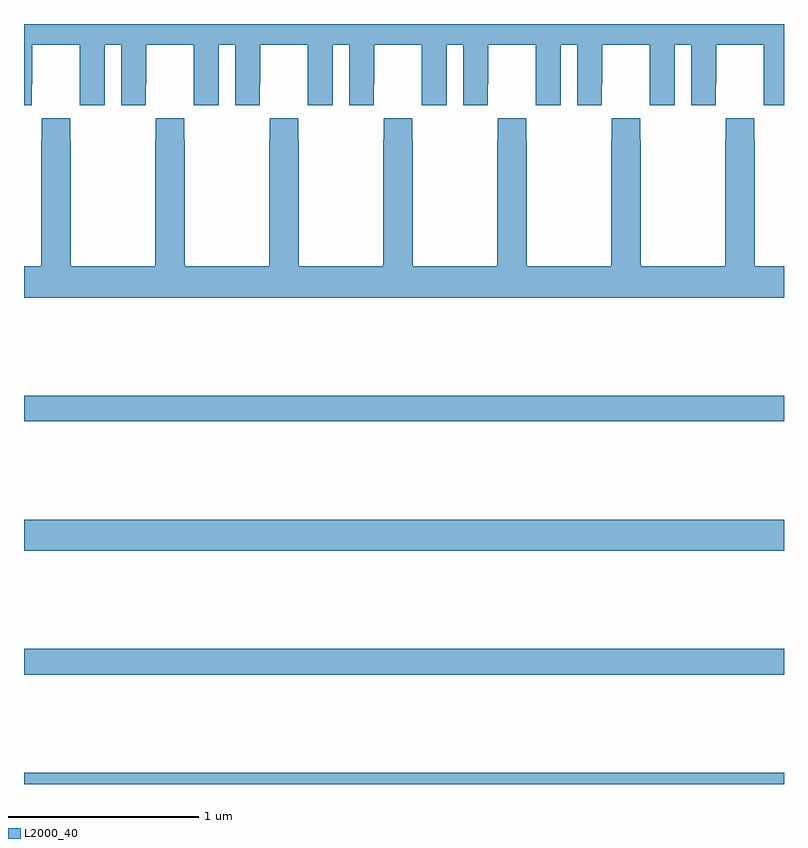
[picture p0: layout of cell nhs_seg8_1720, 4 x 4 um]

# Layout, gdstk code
import gdstk
lib = gdstk.Library(unit=1e-6, precision=1e-09)
def R(c, l, rs):  # rectangles x0, y0, x1, y1
    for r in rs: c.add(gdstk.rectangle(r[:2], r[2:], *l))
def P(c, l, *ps):  # polygons
    for p in ps: c.add(gdstk.Polygon(p, *l))
L2000_40 = (2000, 40)

nhs_seg8_1720 = lib.new_cell('nhs_seg8_1720')
R(nhs_seg8_1720, L2000_40, [(219,1153.9,223,1153.96), (219,1154.476,223,1154.612), (219,1155.128,223,1155.292), (219,1155.808,223,1155.944)])
P(nhs_seg8_1720, L2000_40, [(219,1157.472),(219.042,1157.472),(219.042,1157.584),(219.043,1157.584),(219.043,1157.792),(219.293,1157.792),(219.293,1157.584),(219.294,1157.584),(219.294,1157.472),(219.424,1157.472),(219.424,1157.792),(219.512,1157.792),(219.512,1157.472),(219.642,1157.472),(219.642,1157.584),(219.643,1157.584),(219.643,1157.792),(219.893,1157.792),(219.893,1157.584),(219.894,1157.584),(219.894,1157.472),(220.024,1157.472),(220.024,1157.792),(220.112,1157.792),(220.112,1157.472),(220.242,1157.472),(220.242,1157.584),(220.243,1157.584),(220.243,1157.792),(220.493,1157.792),(220.493,1157.584),(220.494,1157.584),(220.494,1157.472),(220.624,1157.472),(220.624,1157.792),(220.712,1157.792),(220.712,1157.472),(220.842,1157.472),(220.842,1157.584),(220.843,1157.584),(220.843,1157.792),(221.093,1157.792),(221.093,1157.584),(221.094,1157.584),(221.094,1157.472),(221.224,1157.472),(221.224,1157.792),(221.312,1157.792),(221.312,1157.472),(221.442,1157.472),(221.442,1157.584),(221.443,1157.584),(221.443,1157.792),(221.693,1157.792),(221.693,1157.584),(221.694,1157.584),(221.694,1157.472),(221.824,1157.472),(221.824,1157.792),(221.912,1157.792),(221.912,1157.472),(222.042,1157.472),(222.042,1157.584),(222.043,1157.584),(222.043,1157.792),(222.293,1157.792),(222.293,1157.584),(222.294,1157.584),(222.294,1157.472),(222.424,1157.472),(222.424,1157.792),(222.512,1157.792),(222.512,1157.472),(222.642,1157.472),(222.642,1157.584),(222.643,1157.584),(222.643,1157.792),(222.893,1157.792),(222.893,1157.584),(222.894,1157.584),(222.894,1157.472),(223,1157.472),(223,1157.9),(219,1157.9)],
  [(223,1156.624),(222.846,1156.624),(222.846,1157.291),(222.843,1157.291),(222.843,1157.404),(222.693,1157.404),(222.693,1157.291),(222.691,1157.291),(222.691,1156.624),(222.246,1156.624),(222.246,1157.291),(222.243,1157.291),(222.243,1157.404),(222.093,1157.404),(222.093,1157.291),(222.091,1157.291),(222.091,1156.624),(221.646,1156.624),(221.646,1157.291),(221.643,1157.291),(221.643,1157.404),(221.493,1157.404),(221.493,1157.291),(221.491,1157.291),(221.491,1156.624),(221.046,1156.624),(221.046,1157.291),(221.043,1157.291),(221.043,1157.404),(220.893,1157.404),(220.893,1157.291),(220.891,1157.291),(220.891,1156.624),(220.446,1156.624),(220.446,1157.291),(220.443,1157.291),(220.443,1157.404),(220.293,1157.404),(220.293,1157.291),(220.291,1157.291),(220.291,1156.624),(219.846,1156.624),(219.846,1157.291),(219.843,1157.291),(219.843,1157.404),(219.693,1157.404),(219.693,1157.291),(219.691,1157.291),(219.691,1156.624),(219.246,1156.624),(219.246,1157.291),(219.243,1157.291),(219.243,1157.404),(219.093,1157.404),(219.093,1157.291),(219.091,1157.291),(219.091,1156.624),(219,1156.624),(219,1156.46),(223,1156.46)])

lib.write_gds('nhs_seg8_1720.gds')
